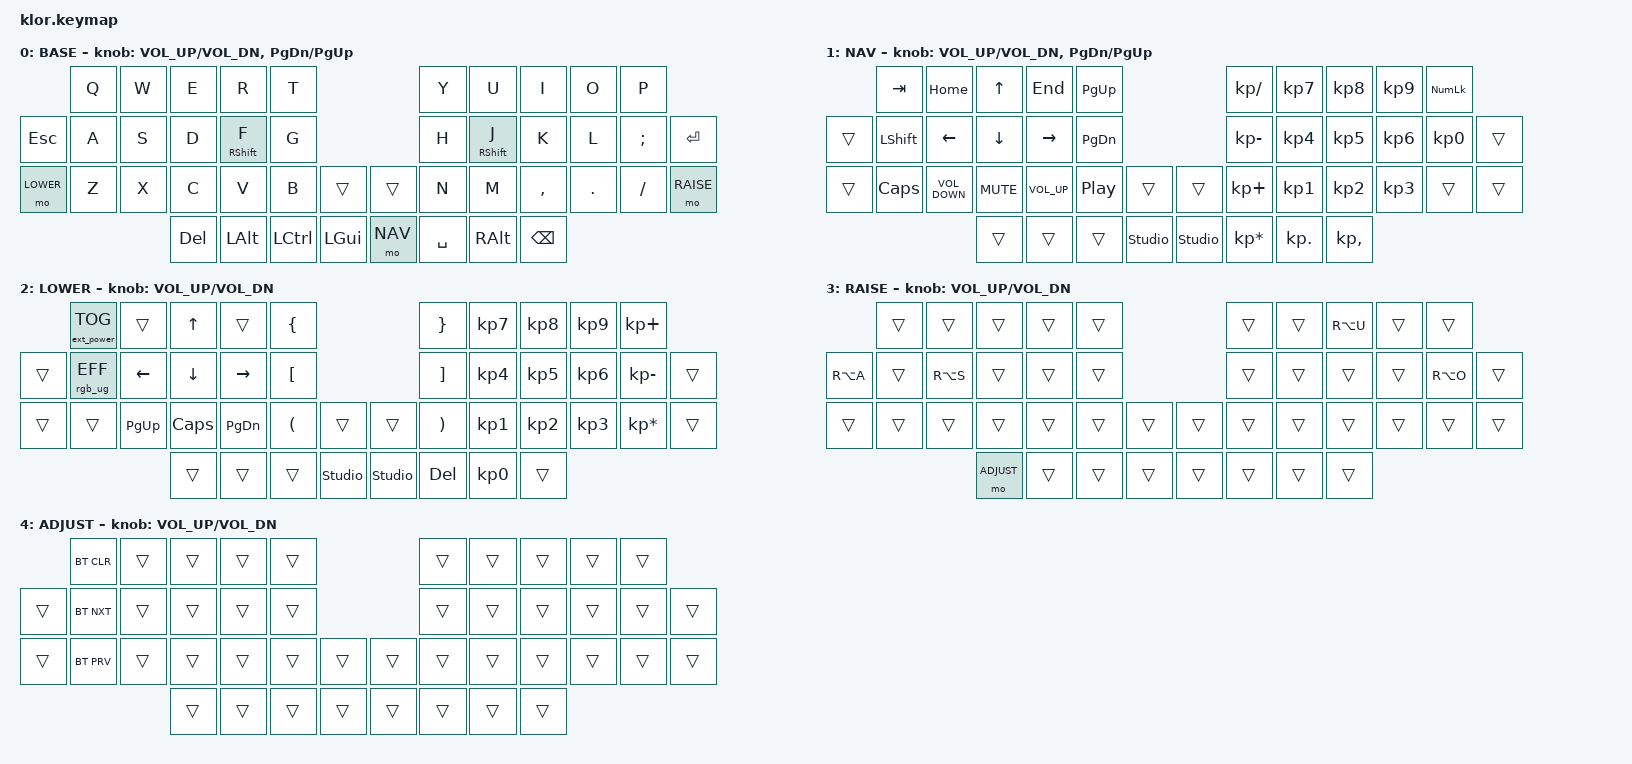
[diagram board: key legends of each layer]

//                               █         █    █            ▄▄▄▀▀▀▀▀▀▄▄▄        █▀▀▀▀▀▀▀▀▀▀█
//                               █        █     █          ▄▀            ▀▄      █          █
//                               █       █      █        ▄▀                ▀▄    █          █
//                               █      █       █        █                  █    █          █
//                               █     █        █       █                    █   █          █
//                               █    █         █       █                    █   █▄▄▄▄▄▄▄▄▄▄█
//                               █   █ █        █       █                    █   █      █
//                               █  █   █       █        █                  █    █       █
//                               █ █     █      █        ▀▄                ▄▀    █        █
//                               ██       █     █          ▀▄            ▄▀      █         █
//                               █         █    █▄▄▄▄▄▄▄▄    ▀▀▀▄▄▄▄▄▄▀▀▀        █          █
//
// ▄▄▄▄▄▄▄▄▄▄▄▄▄▄▄▄▄▄▄▄▄▄▄▄▄▄▄▄▄▄▄▄▄▄▄▄▄▄▄▄▄▄▄▄▄▄▄▄▄▄▄▄▄▄▄▄▄▄▄▄▄▄▄▄▄▄▄▄▄▄▄▄▄▄▄▄▄▄▄▄▄▄▄▄▄▄▄▄▄▄▄▄▄▄▄▄▄▄▄▄▄▄▄▄▄▄▄▄▄▄▄▄▄▄▄▄▄▄▄▄▄▄▄▄▄
       
#include <behaviors.dtsi>
#include <dt-bindings/zmk/keys.h>
#include <dt-bindings/zmk/bt.h>
#include <dt-bindings/zmk/outputs.h>
#include <dt-bindings/zmk/ext_power.h>
#include <dt-bindings/zmk/rgb.h>


#define BASE   0
#define NAV    1
#define LOWER  2
#define RAISE  3
#define ADJUST 4


/ {
    behaviors {
        hm: homerow_mods {
            compatible = "zmk,behavior-hold-tap";
            label = "HOMEROW_MODS";
            #binding-cells = <2>;
            tapping-term-ms = <150>;
            quick_tap_ms = <0>;
            flavor = "tap-preferred";
            bindings = <&kp>, <&kp>;
        };

    };

     combos {
            compatible = "zmk,combos";
            combo_esc {
                timeout-ms = <50>;
                key-positions = <0 1>;
                bindings = <&kp ESC>;
            };
    };



        keymap {
                compatible = "zmk,keymap";
// ▄▄▄▄▄▄▄▄▄▄▄▄▄▄▄▄▄▄▄▄▄▄▄▄▄▄▄▄▄▄▄▄▄▄▄▄▄▄▄▄▄▄▄▄▄▄▄▄▄▄▄▄▄▄▄▄▄▄▄▄▄▄▄▄▄▄▄▄▄▄▄▄▄▄▄▄▄▄▄▄▄▄▄▄▄▄▄▄▄▄▄▄▄▄▄▄▄▄▄▄▄▄▄▄▄▄▄▄▄▄▄▄▄▄▄▄▄▄▄▄▄▄▄▄▄▄▄▄▄▄▄▄▄▄▄▄▄▄▄▄▄▄


                base_layer {
// ┌───────────────────────────────────────────────────────────┐
label= "BASE"                                                  ;
// └───────────────────────────────────────────────────────────┘
/*           ┌─────────┬─────────┬─────────┬─────────┬─────────┐                    ┌─────────┬─────────┬─────────┬─────────┬─────────┐
             │    Q    │    C    │    O    │    P    │    W    │                    │    J    │    M    │    D    │    *    │    Y    │
   ┌─────────┼─────────┼─────────┼─────────┼─────────┼─────────┤                    ├─────────┼─────────┼─────────┼─────────┼─────────┼─────────┐
   │   ESC   │    A    │    S    │    E    │    N    │    F    │                    │    L    │    R    │    T    │    I    │    U    │   RET   │
   ├─────────┼─────────┼─────────┼─────────┼─────────┼─────────┤╭────────╮╭────────╮├─────────┼─────────┼─────────┼─────────┼─────────┼─────────┤
   │  LOWER  │    Z    │    X    │    -    │    V    │    B    ││  MUTE  ││PLY/PSE ││    .    │    H    │    G    │    ,    │    K    │  RAISE  │
   └─────────┴─────────┴─────────┼─────────┼─────────┼─────────┼╰────────╯╰────────╯┼─────────┼─────────┼─────────┼─────────┴─────────┴─────────┘
                                 │   DEL   │   ALT   │  LCTRL  │   WIN   ││   NAV   │  SPACE  │  ALTGR  │  BSPCE  │
                                 └─────────┴─────────┴─────────┴─────────┘└─────────┴─────────┴─────────┴─────────┘ */ 
 bindings = <
 //╷          ╷         ╷         ╷         ╷             ╷          ╷         ╷╷         ╷           ╷            ╷          ╷         ╷           ╷           ╷
                &kp Q     &kp W     &kp E     &kp R         &kp T                           &kp Y       &kp U        &kp I      &kp O     &kp P
    &kp ESC     &kp A     &kp S     &kp D     &hm RSHFT F   &kp G                           &kp H       &hm RSHFT J  &kp K      &kp L     &kp SEMI    &kp RET
    &mo LOWER   &kp Z     &kp X     &kp C     &kp V         &kp B      &trans     &trans    &kp N       &kp M        &kp COMMA  &kp DOT   &kp FSLH    &mo RAISE
                                    &kp DEL   &kp LALT      &kp LCTRL  &kp LGUI   &mo NAV   &kp SPACE   &kp RALT     &kp BSPC
                        >;
            sensor-bindings = <&inc_dec_kp C_VOL_UP C_VOL_DN &inc_dec_kp PAGE_DOWN PAGE_UP>;
                };

// ▄▄▄▄▄▄▄▄▄▄▄▄▄▄▄▄▄▄▄▄▄▄▄▄▄▄▄▄▄▄▄▄▄▄▄▄▄▄▄▄▄▄▄▄▄▄▄▄▄▄▄▄▄▄▄▄▄▄▄▄▄▄▄▄▄▄▄▄▄▄▄▄▄▄▄▄▄▄▄▄▄▄▄▄▄▄▄▄▄▄▄▄▄▄▄▄▄▄▄▄▄▄▄▄▄▄▄▄▄▄▄▄▄▄▄▄▄▄▄▄▄▄▄▄▄▄▄▄▄▄▄▄▄▄▄▄▄▄▄▄▄▄


                nav_layer {
// ┌───────────────────────────────────────────────────────────┐
label= "NAV"                                                 ;
// └───────────────────────────────────────────────────────────┘
/*           ┌─────────┬─────────┬─────────┬─────────┬─────────┐                    ┌─────────┬─────────┬─────────┬─────────┬─────────┐
             │   TAB   │   HOME  │    UP   │   END   │   P UP  │                    │    /    │    7    │    8    │    9    │  NMLCK  │
   ┌─────────┼─────────┼─────────┼─────────┼─────────┼─────────┤                    ├─────────┼─────────┼─────────┼─────────┼─────────┼─────────┐
   │         │  LSHFT  │   LEFT  │  DOWN   │  RIGHT  │ P DOWN  │                    │    -    │    4    │    5    │    6    │    0    │         │
   ├─────────┼─────────┼─────────┼─────────┼─────────┼─────────┤╭────────╮╭────────╮├─────────┼─────────┼─────────┼─────────┼─────────┼─────────┤
   │         │  CPLCK  │   VOL-  │  MUTE   │  VOL+   │  P/PSE  ││        ││        ││    +    │    1    │    2    │    3    │         │         │
   └─────────┴─────────┴─────────┼─────────┼─────────┼─────────┼╰────────╯╰────────╯┼─────────┼─────────┼─────────┼─────────┴─────────┴─────────┘
                                 │         │         │         │         ││         │    *    │    .    │    ,    │
                                 └─────────┴─────────┴─────────┴─────────┘└─────────┴─────────┴─────────┴─────────┘ */
 bindings = <
 //╷         ╷            ╷                   ╷            ╷                 ╷                   ╷         ╷╷         ╷                ╷           ╷           ╷           ╷                ╷         ╷
               &kp TAB      &kp HOME            &kp UP       &kp END           &kp PG_UP                                &kp KP_DIVIDE    &kp KP_N7   &kp KP_N8   &kp KP_N9   &kp KP_NUMLOCK
     &trans    &kp LSHFT    &kp LEFT            &kp DOWN     &kp RIGHT         &kp PG_DN                                &kp KP_MINUS     &kp KP_N4   &kp KP_N5   &kp KP_N6   &kp KP_N0        &trans
     &trans    &kp CLCK     &kp C_VOLUME_DOWN   &kp C_MUTE   &kp C_VOLUME_UP   &kp C_PLAY_PAUSE    &trans     &trans    &kp KP_PLUS      &kp KP_N1   &kp KP_N2   &kp KP_N3   &trans           &trans
                                                &trans       &trans            &trans  &studio_unlock  &studio_unlock   &kp KP_MULTIPLY  &kp KP_DOT  &kp KP_COMMA
                        >;
            sensor-bindings = <&inc_dec_kp C_VOL_UP C_VOL_DN &inc_dec_kp PAGE_DOWN PAGE_UP>;
                };

// ▄▄▄▄▄▄▄▄▄▄▄▄▄▄▄▄▄▄▄▄▄▄▄▄▄▄▄▄▄▄▄▄▄▄▄▄▄▄▄▄▄▄▄▄▄▄▄▄▄▄▄▄▄▄▄▄▄▄▄▄▄▄▄▄▄▄▄▄▄▄▄▄▄▄▄▄▄▄▄▄▄▄▄▄▄▄▄▄▄▄▄▄▄▄▄▄▄▄▄▄▄▄▄▄▄▄▄▄▄▄▄▄▄▄▄▄▄▄▄▄▄▄▄▄▄


                lower_layer {
// ┌───────────────────────────────────────────────────────────┐
label= "LOWER"                                                 ;
// └───────────────────────────────────────────────────────────┘
/*           ┌─────────┬─────────┬─────────┬─────────┬─────────┐                    ┌─────────┬─────────┬─────────┬─────────┬─────────┐
             │         │         │    UP   │         │    {    │                    │    }    │    7    │    8    │    9    │    +    │
   ┌─────────┼─────────┼─────────┼─────────┼─────────┼─────────┤                    ├─────────┼─────────┼─────────┼─────────┼─────────┼─────────┐
   │         │         │   LEFT  │  DOWN   │  RIGHT  │    [    │                    │    ]    │    4    │    5    │    6    │    -    │         │
   ├─────────┼─────────┼─────────┼─────────┼─────────┼─────────┤╭────────╮╭────────╮├─────────┼─────────┼─────────┼─────────┼─────────┼─────────┤
   │         │         │   P UP  │ C LOCK  │ P DOWN  │    (    ││        ││        ││    )    │    1    │    2    │    3    │    *    │         │
   └─────────┴─────────┴─────────┼─────────┼─────────┼─────────┼╰────────╯╰────────╯┼─────────┼─────────┼─────────┼─────────┴─────────┴─────────┘
                                 │         │         │         │         ││         │         │    0    │         │  
                                 └─────────┴─────────┴─────────┴─────────┘└─────────┴─────────┴─────────┴─────────┘ */ 
 bindings = <
 //╷         ╷         ╷         ╷         ╷         ╷         ╷         ╷╷         ╷         ╷         ╷         ╷         ╷         ╷         ╷
    &ext_power EP_TOG   &trans    &kp UP    &trans    &kp LBRC                       &kp RBRC  &kp KP_N7 &kp KP_N8 &kp KP_N9 &kp KP_PLUS
    &trans  &rgb_ug RGB_EFF    &kp LEFT  &kp DOWN  &kp RIGHT &kp LBKT                       &kp RBKT  &kp KP_N4 &kp KP_N5 &kp KP_N6 &kp KP_MINUS &trans
    &trans    &trans    &kp PG_UP &kp CAPS  &kp PG_DN &kp LPAR  &trans     &trans    &kp RPAR  &kp KP_N1 &kp KP_N2 &kp KP_N3 &kp KP_MULTIPLY &trans
                                  &trans    &trans    &trans    &studio_unlock     &studio_unlock    &kp DELETE &kp KP_N0 &trans
                        >;
            sensor-bindings = <&inc_dec_kp C_VOL_UP C_VOL_DN>;
                };

// ▄▄▄▄▄▄▄▄▄▄▄▄▄▄▄▄▄▄▄▄▄▄▄▄▄▄▄▄▄▄▄▄▄▄▄▄▄▄▄▄▄▄▄▄▄▄▄▄▄▄▄▄▄▄▄▄▄▄▄▄▄▄▄▄▄▄▄▄▄▄▄▄▄▄▄▄▄▄▄▄▄▄▄▄▄▄▄▄▄▄▄▄▄▄▄▄▄▄▄▄▄▄▄▄▄▄▄▄▄▄▄▄▄▄▄▄▄▄▄▄▄▄▄▄▄


                raise_layer {
// ┌───────────────────────────────────────────────────────────┐
label= "RAISE"                                                 ;
// └───────────────────────────────────────────────────────────┘
/*           ┌─────────┬─────────┬─────────┬─────────┬─────────┐                    ┌─────────┬─────────┬─────────┬─────────┬─────────┐
             │         │         │         │         │         │                    │         │         │    Ü    │         │         │
   ┌─────────┼─────────┼─────────┼─────────┼─────────┼─────────┤                    ├─────────┼─────────┼─────────┼─────────┼─────────┼─────────┐
   │    Ä    │         │    ß    │         │         │         │                    │         │         │         │         │    Ö    │         │
   ├─────────┼─────────┼─────────┼─────────┼─────────┼─────────┤╭────────╮╭────────╮├─────────┼─────────┼─────────┼─────────┼─────────┼─────────┤
   │         │         │         │         │         │         ││        ││        ││         │         │         │         │         │         │
   └─────────┴─────────┴─────────┼─────────┼─────────┼─────────┼╰────────╯╰────────╯┼─────────┼─────────┼─────────┼─────────┴─────────┴─────────┘
                                 │ ADJUST  │         │         │         ││         │         │         │         │  
                                 └─────────┴─────────┴─────────┴─────────┘└─────────┴─────────┴─────────┴─────────┘ */ 
 bindings = <
 //╷         ╷         ╷         ╷         ╷         ╷         ╷         ╷╷         ╷         ╷         ╷         ╷         ╷         ╷         ╷
              &trans    &trans    &trans    &trans    &trans                         &trans    &trans    &kp RA(U) &trans    &trans     
    &kp RA(A) &trans    &kp RA(S) &trans    &trans    &trans                         &trans    &trans    &trans    &trans    &kp RA(O) &trans  
    &trans    &trans    &trans    &trans    &trans    &trans    &trans     &trans    &trans    &trans    &trans    &trans    &trans    &trans
                                  &mo ADJUST &trans   &trans    &trans     &trans    &trans    &trans    &trans  
                        >;
                sensor-bindings = <&inc_dec_kp C_VOL_UP C_VOL_DN>;
                };

// ▄▄▄▄▄▄▄▄▄▄▄▄▄▄▄▄▄▄▄▄▄▄▄▄▄▄▄▄▄▄▄▄▄▄▄▄▄▄▄▄▄▄▄▄▄▄▄▄▄▄▄▄▄▄▄▄▄▄▄▄▄▄▄▄▄▄▄▄▄▄▄▄▄▄▄▄▄▄▄▄▄▄▄▄▄▄▄▄▄▄▄▄▄▄▄▄▄▄▄▄▄▄▄▄▄▄▄▄▄▄▄▄▄▄▄▄▄▄▄▄▄▄▄▄▄


                adjust_layer {
// ┌───────────────────────────────────────────────────────────┐
label= "ADJUST"                                                ;
// └───────────────────────────────────────────────────────────┘
/*           ┌─────────┬─────────┬─────────┬─────────┬─────────┐                    ┌─────────┬─────────┬─────────┬─────────┬─────────┐
             │ BT_CLR  │         │         │         │         │                    │         │         │         │         │         │
   ┌─────────┼─────────┼─────────┼─────────┼─────────┼─────────┤                    ├─────────┼─────────┼─────────┼─────────┼─────────┼─────────┐
   │         │ BT_NXT  │         │         │         │         │                    │         │         │         │         │         │         │
   ├─────────┼─────────┼─────────┼─────────┼─────────┼─────────┤╭────────╮╭────────╮├─────────┼─────────┼─────────┼─────────┼─────────┼─────────┤
   │         │ BT_PRV  │         │         │         │         ││        ││        ││         │         │         │         │         │         │
   └─────────┴─────────┴─────────┼─────────┼─────────┼─────────┼╰────────╯╰────────╯┼─────────┼─────────┼─────────┼─────────┴─────────┴─────────┘
                                 │         │         │         │         ││         │         │         │         │  
                                 └─────────┴─────────┴─────────┴─────────┘└─────────┴─────────┴─────────┴─────────┘ */ 
 bindings = <
 //╷         ╷         ╷         ╷         ╷         ╷         ╷         ╷╷         ╷         ╷         ╷         ╷         ╷         ╷         ╷
             &bt BT_CLR &trans    &trans    &trans    &trans                         &trans    &trans    &trans    &trans    &trans
    &trans   &bt BT_NXT &trans    &trans    &trans    &trans                         &trans    &trans    &trans    &trans    &trans    &trans
    &trans   &bt BT_PRV &trans    &trans    &trans    &trans    &trans     &trans    &trans    &trans    &trans    &trans    &trans    &trans
                                  &trans    &trans    &trans    &trans     &trans    &trans    &trans    &trans    
                        >;
            sensor-bindings = <&inc_dec_kp C_VOL_UP C_VOL_DN>;
                };

				extra1 {
					status = "reserved";
				};

				extra2 {
					status = "reserved";
				};
        };
};
